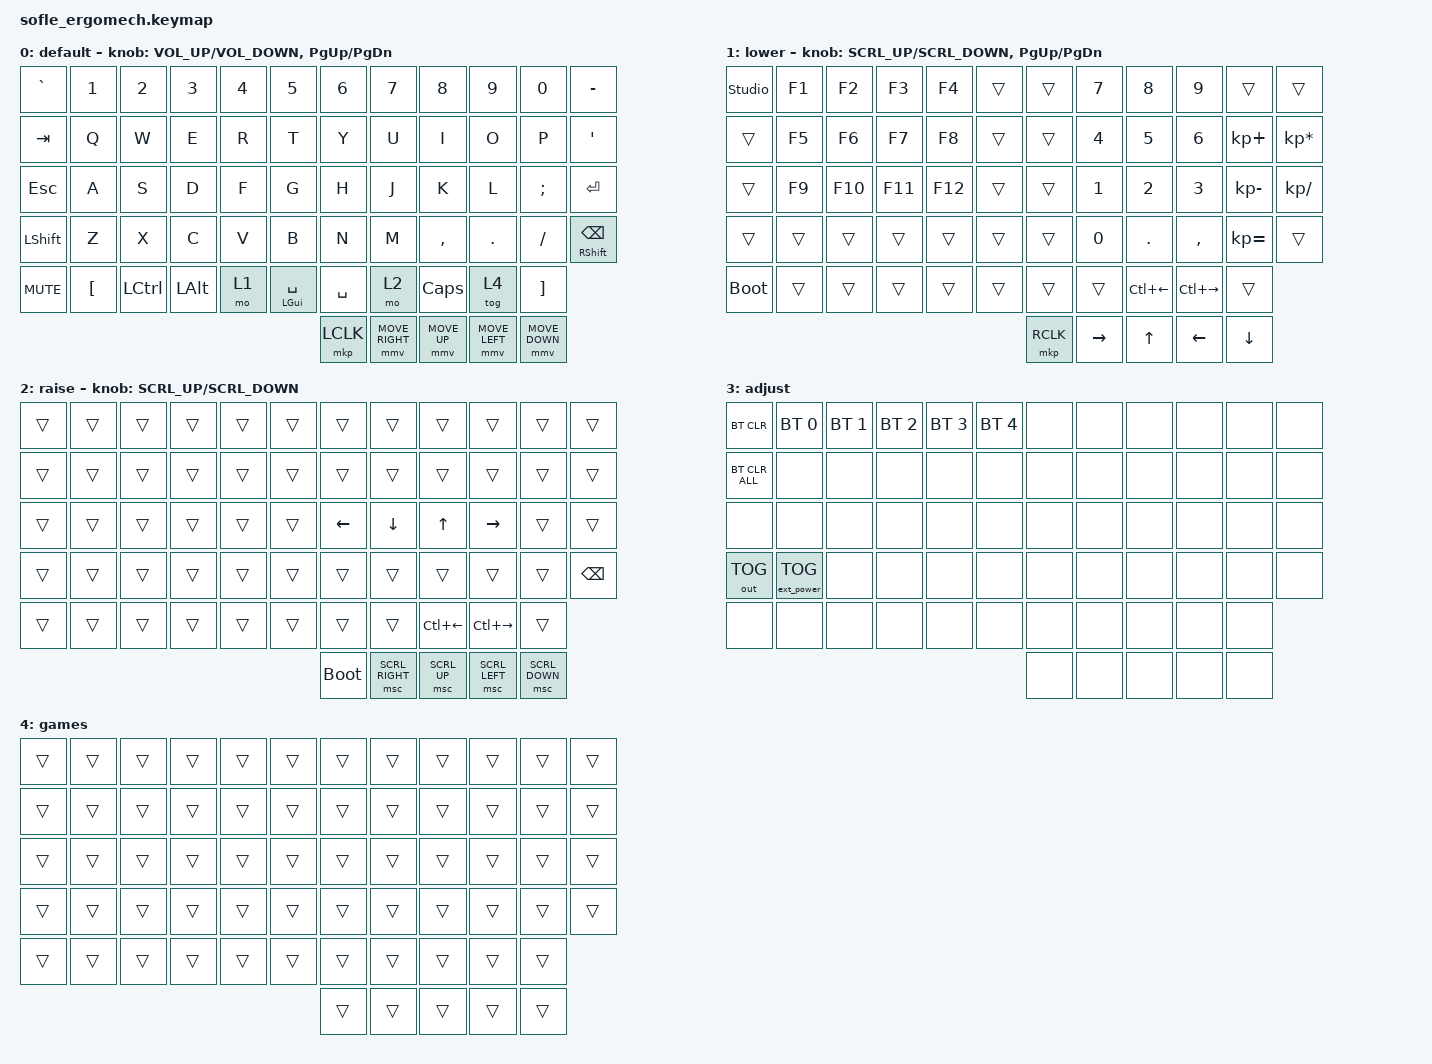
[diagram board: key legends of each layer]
/*
 * Copyright (c) 2020 The ZMK Contributors
 *
 * SPDX-License-Identifier: MIT
 */

#define ZMK_POINTING_DEFAULT_SCRL_VAL 300

#include <behaviors.dtsi>
#include <dt-bindings/zmk/bt.h>
#include <dt-bindings/zmk/ext_power.h>
#include <dt-bindings/zmk/keys.h>
#include <dt-bindings/zmk/outputs.h>
#include <dt-bindings/zmk/pointing.h>

#define BASE 0
#define LOWER 1
#define RAISE 2
#define ADJUST 3

/ {
    // Activate ADJUST layer by pressing raise and lower

    conditional_layers {
        compatible = "zmk,conditional-layers";

        adjust_layer {
            if-layers = <LOWER RAISE>;
            then-layer = <ADJUST>;
        };
    };

    behaviors {
        mousescroll: mousescroll {
            compatible = "zmk,behavior-sensor-rotate-var";
            #sensor-binding-cells = <2>;
            bindings = <&msc>, <&msc>;

            tap-ms = <20>;
        };
    };

    keymap {
        compatible = "zmk,keymap";

        base {
            label = "default";

            // ------------------------------------------------------------------------------------------------------------
            // |   `   |  1  |  2  |  3   |  4   |  5   |                   |  6   |  7    |  8    |  9   |   0   |       |
            // |  ESC  |  Q  |  W  |  E   |  R   |  T   |                   |  Y   |  U    |  I    |  O   |   P   | BKSPC |
            // |  TAB  |  A  |  S  |  D   |  F   |  G   |                   |  H   |  J    |  K    |  L   |   ;   |   '   |
            // | SHIFT |  Z  |  X  |  C   |  V   |  B   |  MUTE  |  |       |  N   |  M    |  ,    |  .   |   /   | SHIFT |
            //               | GUI | ALT  | CTRL | LOWER|  ENTER |  | SPACE | RAISE| CTRL  | ALT   | GUI  |

            bindings = <
&kp GRAVE   &kp N1            &kp N2            &kp N3        &kp N4  &kp N5          &kp N6     &kp N7           &kp N8        &kp N9          &kp N0             &kp MINUS
&kp TAB     &kp Q             &kp W             &kp E         &kp R   &kp T           &kp Y      &kp U            &kp I         &kp O           &kp P              &kp APOS
&kp ESCAPE  &kp A             &kp S             &kp D         &kp F   &kp G           &kp H      &kp J            &kp K         &kp L           &kp SEMI           &kp RET
&kp LSHFT   &kp Z             &kp X             &kp C         &kp V   &kp B           &kp N      &kp M            &kp COMMA     &kp DOT         &kp FSLH           &mt RSHFT BACKSPACE
&kp C_MUTE  &kp LEFT_BRACKET  &kp LEFT_CONTROL  &kp LEFT_ALT  &mo 1   &mt LGUI SPACE  &kp SPACE  &mo 2            &kp CAPSLOCK  &tog 4          &kp RIGHT_BRACKET
                                                                                      &mkp LCLK  &mmv MOVE_RIGHT  &mmv MOVE_UP  &mmv MOVE_LEFT  &mmv MOVE_DOWN
            >;

            sensor-bindings = <&inc_dec_kp C_VOLUME_UP C_VOLUME_DOWN &inc_dec_kp PG_UP PG_DN>;
        };

        num {
            label = "lower";

            // TODO: Some binds are waiting for shifted keycode support.
            // ------------------------------------------------------------------------------------------------------------
            // |       |  F1 |  F2 |  F3  |  F4  |  F5  |                   |  F6  |  F7   |  F8   |  F9  |  F10  |  F11  |
            // |   `   |  1  |  2  |  3   |  4   |  5   |                   |  6   |  7    |  8    |  9   |   0   |  F12  |
            // |       |  !  |  @  |  #   |  $   |  %   |                   |  ^   |  &    |  *    |  (   |   )   |   |   |
            // |       |  =  |  -  |  +   |  {   |  }   |        |  |       |  [   |  ]    |  ;    |  :   |   \   |       |
            //               |     |      |      |      |        |  |       |      |       |       |      |

            bindings = <
&studio_unlock  &kp F1  &kp F2   &kp F3   &kp F4   &trans  &trans     &kp N7           &kp N8              &kp N9               &trans          &trans
&trans          &kp F5  &kp F6   &kp F7   &kp F8   &trans  &trans     &kp N4           &kp N5              &kp N6               &kp KP_PLUS     &kp KP_MULTIPLY
&trans          &kp F9  &kp F10  &kp F11  &kp F12  &trans  &trans     &kp N1           &kp N2              &kp N3               &kp KP_MINUS    &kp KP_DIVIDE
&trans          &trans  &trans   &trans   &trans   &trans  &trans     &kp N0           &kp PERIOD          &kp COMMA            &kp KP_EQUAL    &trans
&bootloader     &trans  &trans   &trans   &trans   &trans  &trans     &trans           &kp LC(LEFT_ARROW)  &kp LC(RIGHT_ARROW)  &trans
                                                           &mkp RCLK  &kp RIGHT_ARROW  &kp UP_ARROW        &kp LEFT_ARROW       &kp DOWN_ARROW
            >;

            sensor-bindings =
                <&mousescroll SCRL_UP SCRL_DOWN>,
                <&inc_dec_kp PG_UP PG_DN>;
        };

        arrow {
            label = "raise";

            // ------------------------------------------------------------------------------------------------------------
            // | BTCLR | BT1  | BT2  |  BT3  |  BT4  |  BT5 |                |      |      |       |      |       |       |
            // |       | INS  | PSCR | GUI   |       |      |                | PGUP |      |   ^   |      |       |       |
            // |       | ALT  | CTRL | SHIFT |       | CAPS |                | PGDN |   <- |   v   |  ->  |  DEL  | BKSPC |
            // |       | UNDO | CUT  | COPY  | PASTE |      |      |  |      |      |      |       |      |       |       |
            //                |      |       |       |      |      |  |      |      |      |       |      |

            bindings = <
&trans  &trans  &trans  &trans  &trans  &trans  &trans          &trans           &trans        &trans          &trans          &trans
&trans  &trans  &trans  &trans  &trans  &trans  &trans          &trans           &trans        &trans          &trans          &trans
&trans  &trans  &trans  &trans  &trans  &trans  &kp LEFT_ARROW  &kp DOWN_ARROW   &kp UP_ARROW  &kp RIGHT       &trans          &trans
&trans  &trans  &trans  &trans  &trans  &trans  &trans          &trans           &trans        &trans          &trans          &kp BACKSPACE
&trans  &trans  &trans  &trans  &trans  &trans  &trans          &trans           &kp LC(LEFT)  &kp LC(RIGHT)   &trans
                                                &bootloader     &msc SCRL_RIGHT  &msc SCRL_UP  &msc SCRL_LEFT  &msc SCRL_DOWN
            >;

            sensor-bindings = <&mousescroll SCRL_UP SCRL_DOWN>;
        };

        adjust_layer {
            // ----------------------------------------------------------------------------------------------------------------------------
            // | BTCLR  |  BT1    |  BT2    |   BT3   |   BT4   |   BT5   |                  |      |      |       |      |       |       |
            // | EXTPWR | RGB_HUD | RGB_HUI | RGB_SAD | RGB_SAI | RGB_EFF |                  |      |      |       |      |       |       |
            // |        | RGB_BRD | RGB_BRI |         |         |         |                  |      |      |       |      |       |       |
            // |        |         |         |         |         |         | RGB_TOG | |      |      |      |       |      |       |       |
            //                    |         |         |         |         |         | |      |      |      |       |      |

            label = "adjust";
            bindings = <
&bt BT_CLR      &bt BT_SEL 0       &bt BT_SEL 1  &bt BT_SEL 2  &bt BT_SEL 3  &bt BT_SEL 4  &none  &none  &none  &none  &none  &none
&bt BT_CLR_ALL  &none              &none         &none         &none         &none         &none  &none  &none  &none  &none  &none
&none           &none              &none         &none         &none         &none         &none  &none  &none  &none  &none  &none
&out OUT_TOG    &ext_power EP_TOG  &none         &none         &none         &none         &none  &none  &none  &none  &none  &none
&none           &none              &none         &none         &none         &none         &none  &none  &none  &none  &none
                                                                                           &none  &none  &none  &none  &none
            >;
        };

        games {
            bindings = <
&trans  &trans  &trans  &trans  &trans  &trans  &trans  &trans  &trans  &trans  &trans  &trans
&trans  &trans  &trans  &trans  &trans  &trans  &trans  &trans  &trans  &trans  &trans  &trans
&trans  &trans  &trans  &trans  &trans  &trans  &trans  &trans  &trans  &trans  &trans  &trans
&trans  &trans  &trans  &trans  &trans  &trans  &trans  &trans  &trans  &trans  &trans  &trans
&trans  &trans  &trans  &trans  &trans  &trans  &trans  &trans  &trans  &trans  &trans
                                                &trans  &trans  &trans  &trans  &trans
            >;
        };
    };
};
